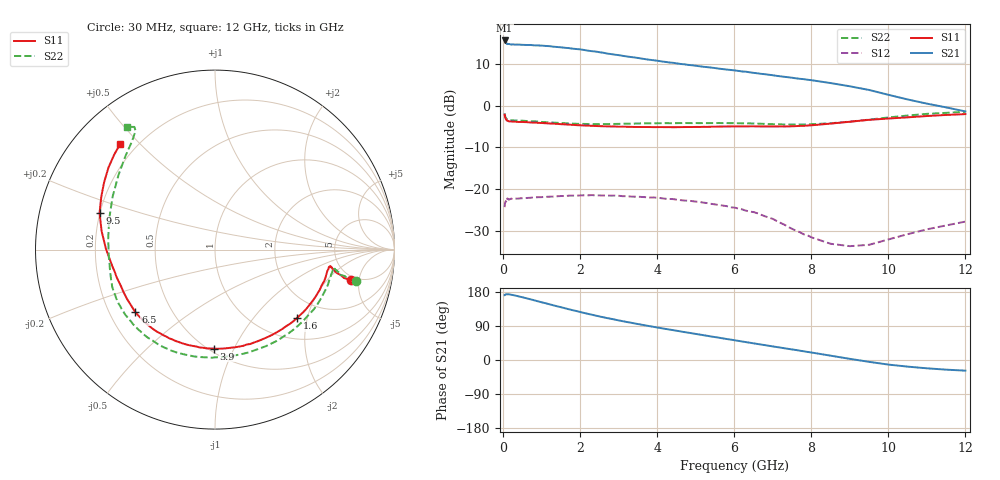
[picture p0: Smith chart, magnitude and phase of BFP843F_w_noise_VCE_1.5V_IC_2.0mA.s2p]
! Infineon Technologies  Discrete & RF Semiconductors
! BFP843F
! VCE =  1.5 V,  IC =  2.0 mA
! Common Emitter S-Parameters:  Aug 2013
# GHz  S  MA  R  50
!  f  S11  S21  S12  S22
! GHz  MAG  ANG  MAG  ANG  MAG  ANG  MAG  ANG
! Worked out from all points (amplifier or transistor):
!   103 points, 30 MHz to 12 GHz, reference 50 ohm
!   highest |S21| = 15.6 dB at 30 MHz (marker M1)
!   |S21| within 3 dB of that: start of sweep to 2.623 GHz
!   unconditionally stable (mu >= 1): 133.7 MHz to 659.7 MHz; 4.638 GHz to end of sweep
!   at 400 MHz: K = 1.01, MAG = 17.8 dB, |S12| = -22.3 dB
!   at 3.7 GHz: K = 0.92, MSG = 16.5 dB, |S12| = -22.0 dB
!   at 12 GHz: K = 1.77, MAG = 8.1 dB, |S12| = -27.8 dB
!   lowest NFmin = 1.09 dB at 450 MHz
!   S11 on the Smith chart (normalised r, x): 30 MHz: 4.52, -3.93; 1.6 GHz: 1.46, -1.73; 3.9 GHz: 0.53, -0.84; 6.5 GHz: 0.31, -0.32; 9.5 GHz: 0.20, +0.15; 12 GHz: 0.14, +0.44
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0.03  0.7784 -12.7  6.038 171.0  0.0605 36.5  0.8049 -12.7
0.04  0.7358 -12.4  5.843 171.1  0.0672 30.1  0.7597 -12.3
0.05  0.713 -11.4  5.677 172.9  0.0698 26.9  0.7368 -11.5
0.1  0.6601 -8.8  5.447 173.3  0.0769 13.3  0.6812 -9.5
0.11  0.6537 -8.7  5.503 173.7  0.0759 11.9  0.6783 -9.3
0.15  0.6461 -8.2  5.471 173.4  0.0746 10.1  0.6693 -9.3
0.7  0.627 -18.5  5.331 160.2  0.0784 1.5  0.65 -24.9
1.2  0.6097 -30.5  5.158 146.9  0.0808 -1.7  0.6287 -41.8
1.6  0.595 -40.0  4.931 136.5  0.0822 -4.4  0.6152 -55.3
2.1  0.577 -51.8  4.636 124.0  0.084 -8.8  0.6027 -71.9
2.4  0.5688 -58.6  4.444 117.1  0.0836 -11.4  0.5996 -81.2
3  0.5576 -71.6  4.024 104.4  0.0828 -16.5  0.6036 -96.9
3.9  0.5514 -90.6  3.497 87.5  0.0791 -23.9  0.6128 -115.2
4.1  0.5523 -94.7  3.388 84.0  0.0775 -25.7  0.615 -118.9
5  0.5545 -113.3  3.001 68.7  0.0705 -33.7  0.6173 -134.2
6.1  0.5634 -134.5  2.605 50.5  0.0582 -43.2  0.6147 -152.3
6.5  0.564 -141.9  2.467 43.9  0.0528 -47.4  0.6097 -158.8
7.5  0.5647 -161.3  2.156 27.8  0.0332 -49.8  0.593 -175.6
8.5  0.6077 179.6  1.861 11.4  0.022 -28.4  0.6139 163.8
9.5  0.6749 162.4  1.538 -4.9  0.0214 4.0  0.6787 142.5
10.5  0.7225 148.8  1.184 -17.5  0.0287 21.7  0.7599 127.5
12  0.7901 132.0  0.851 -28.1  0.0406 30.2  0.8417 125.7
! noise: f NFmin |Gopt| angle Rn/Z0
0.45  1.09  0.34  11  0.15
0.9  1.1  0.34  19  0.16
1.5  1.21  0.33  27  0.17
1.9  1.28  0.31  40  0.17
2.4  1.33  0.31  50  0.18
3.5  1.43  0.32  76  0.23
5.5  1.57  0.28  126  0.33
10  2.71  0.48  -138  0.45
